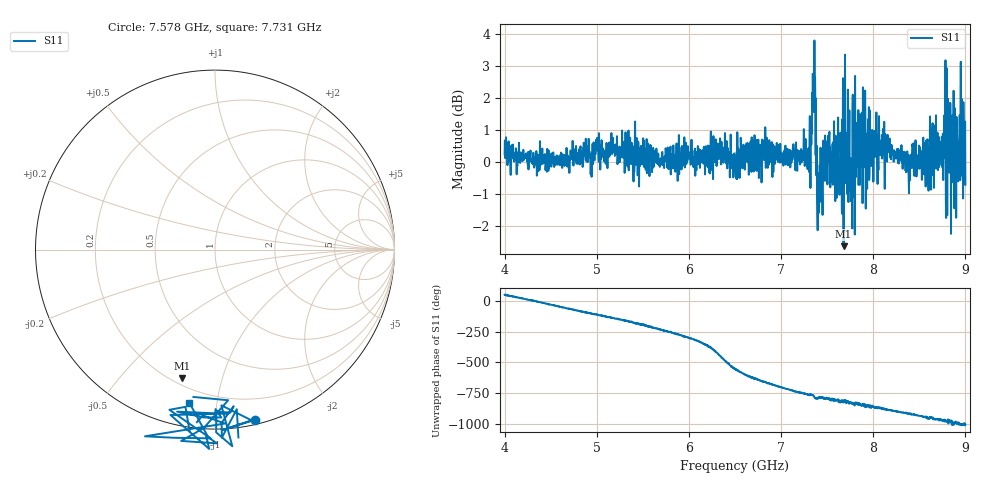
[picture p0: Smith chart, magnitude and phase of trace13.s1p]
! Created with skrf 1.8.0 (http://scikit-rf.org).
# Hz S RI R 50.0
!freq ReS11 ImS11
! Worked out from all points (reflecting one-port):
!   1601 points, 4 GHz to 9 GHz, reference 50 ohm
!   lowest |S11| = -2.6 dB at 7.678 GHz (marker M1), VSWR 6.64, Z = 11.9 - j37.5 ohm
!   phase of S11 starts at 48 deg and turns -1054 deg over the sweep
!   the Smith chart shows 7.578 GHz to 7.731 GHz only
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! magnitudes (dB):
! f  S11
! 4 GHz  0.2
! 4.625 GHz  -0.2
! 5.25 GHz  0.0
! 5.875 GHz  0.1
! 6.388 GHz  0.4
! 6.5 GHz  -0.2
! 6.819 GHz  0.2
! 7.125 GHz  0.2
! 7.297 GHz  0.4
! 7.353 GHz  1.6
! 7.366 GHz  2.0
! 7.397 GHz  -2.1
! 7.412 GHz  -1.3
! 7.503 GHz  -0.7
! 7.612 GHz  -0.9
! 7.678 GHz  -2.6
! 7.691 GHz  1.6
! 7.75 GHz  -0.9
! 7.775 GHz  1.5
! 7.828 GHz  0.3
! 7.909 GHz  1.3
! 7.962 GHz  1.6
! 8.375 GHz  0.0
! 8.725 GHz  0.4
! 8.788 GHz  -1.3
! 8.869 GHz  -0.5
! 8.956 GHz  0.1
! 9 GHz  -0.7
